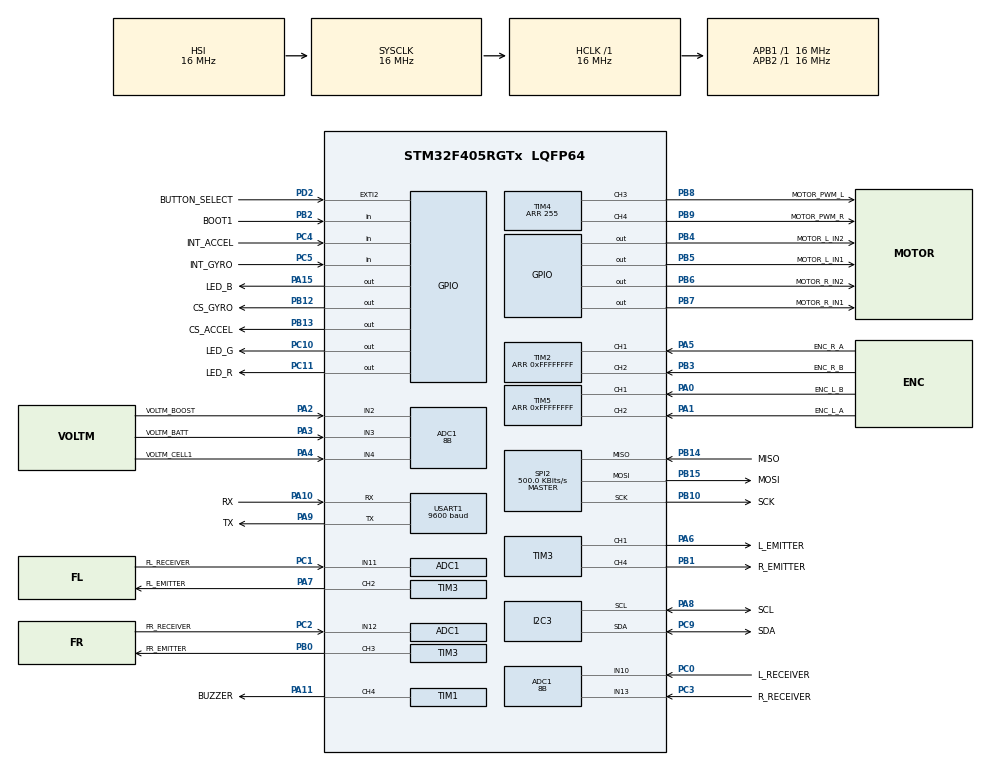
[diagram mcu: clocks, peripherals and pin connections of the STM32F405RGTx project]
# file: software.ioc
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ADC1.Channel-0\#ChannelRegularConversion=ADC_CHANNEL_3
ADC1.Channel-1\#ChannelRegularConversion=ADC_CHANNEL_4
ADC1.Channel-2\#ChannelRegularConversion=ADC_CHANNEL_2
ADC1.ClockPrescaler=ADC_CLOCK_SYNC_PCLK_DIV4
ADC1.ContinuousConvMode=ENABLE
ADC1.DMAContinuousRequests=ENABLE
ADC1.DataAlign=ADC_DATAALIGN_RIGHT
ADC1.EOCSelection=ADC_EOC_SEQ_CONV
ADC1.InjNumberOfConversion=0
ADC1.NbrOfConversion=3
ADC1.NbrOfConversionFlag=1
ADC1.Rank-0\#ChannelRegularConversion=1
ADC1.Rank-1\#ChannelRegularConversion=2
ADC1.Rank-2\#ChannelRegularConversion=3
ADC1.Resolution=ADC_RESOLUTION_8B
ADC1.SamplingTime-0\#ChannelRegularConversion=ADC_SAMPLETIME_480CYCLES
ADC1.SamplingTime-1\#ChannelRegularConversion=ADC_SAMPLETIME_480CYCLES
ADC1.SamplingTime-2\#ChannelRegularConversion=ADC_SAMPLETIME_480CYCLES
ADC1.ScanConvMode=ENABLE
ADC1.master=1
Dma.ADC1.0.Direction=DMA_PERIPH_TO_MEMORY
Dma.ADC1.0.FIFOMode=DMA_FIFOMODE_DISABLE
Dma.ADC1.0.Instance=DMA2_Stream0
Dma.ADC1.0.MemDataAlignment=DMA_MDATAALIGN_BYTE
Dma.ADC1.0.MemInc=DMA_MINC_ENABLE
Dma.ADC1.0.Mode=DMA_CIRCULAR
Dma.ADC1.0.PeriphDataAlignment=DMA_PDATAALIGN_BYTE
Dma.ADC1.0.PeriphInc=DMA_PINC_DISABLE
Dma.ADC1.0.Priority=DMA_PRIORITY_LOW
Dma.Request0=ADC1
I2C3.I2C_Mode=I2C_Fast
Mcu.Family=STM32F4
Mcu.Name=STM32F405RGTx
Mcu.Package=LQFP64
NVIC.DMA2_Stream0_IRQn=true\:0\:0\:false\:false\:true\:false\:true
NVIC.EXTI2_IRQn=true\:0\:0\:false\:false\:true\:true\:true
NVIC.PriorityGroup=NVIC_PRIORITYGROUP_4
NVIC.TIM8_TRG_COM_TIM14_IRQn=true\:0\:0\:false\:false\:true\:true\:true
PA0-WKUP.GPIO_Label=ENC_L_B
PA0-WKUP.Signal=S_TIM5_CH1
PA1.GPIO_Label=ENC_L_A
PA1.Signal=S_TIM5_CH2
PA10.GPIO_Label=RX
PA10.Mode=Asynchronous
PA10.Signal=USART1_RX
PA11.GPIO_Label=BUZZER
PA11.Signal=S_TIM1_CH4
PA13.GPIO_Label=SW_DIO
PA13.Mode=Serial_Wire
PA13.Signal=SYS_JTMS-SWDIO
PA14.GPIO_Label=SW_CLK
PA14.Mode=Serial_Wire
PA14.Signal=SYS_JTCK-SWCLK
PA15.GPIO_Label=LED_B
PA15.Signal=GPIO_Output
PA2.GPIO_Label=VOLTM_BOOST
PA2.Signal=ADCx_IN2
PA3.GPIO_Label=VOLTM_BATT
PA3.Signal=ADCx_IN3
PA4.GPIO_Label=VOLTM_CELL1
PA4.Signal=ADCx_IN4
PA5.GPIO_Label=ENC_R_A
PA5.Signal=S_TIM2_CH1_ETR
PA6.GPIO_Label=L_EMITTER
PA6.Signal=S_TIM3_CH1
PA7.GPIO_Label=FL_EMITTER
PA7.Signal=S_TIM3_CH2
PA8.GPIO_Label=SCL
PA8.Mode=I2C
PA8.Signal=I2C3_SCL
PA9.GPIO_Label=TX
PA9.Mode=Asynchronous
PA9.Signal=USART1_TX
PB0.GPIO_Label=FR_EMITTER
PB0.Signal=S_TIM3_CH3
PB1.GPIO_Label=R_EMITTER
PB1.Signal=S_TIM3_CH4
PB10.GPIO_Label=SCK
PB10.Mode=Full_Duplex_Master
PB10.Signal=SPI2_SCK
PB12.GPIO_Label=CS_GYRO
PB12.Signal=GPIO_Output
PB13.GPIO_Label=CS_ACCEL
PB13.Signal=GPIO_Output
PB14.GPIO_Label=MISO
PB14.Mode=Full_Duplex_Master
PB14.Signal=SPI2_MISO
PB15.GPIO_Label=MOSI
PB15.Mode=Full_Duplex_Master
PB15.Signal=SPI2_MOSI
PB2.GPIO_Label=BOOT1
PB2.Signal=GPIO_Input
PB3.GPIO_Label=ENC_R_B
PB3.Signal=S_TIM2_CH2
PB4.GPIO_Label=MOTOR_L_IN2
PB4.Signal=GPIO_Output
PB5.GPIO_Label=MOTOR_L_IN1
PB5.PinState=GPIO_PIN_RESET
PB5.Signal=GPIO_Output
PB6.GPIO_Label=MOTOR_R_IN2
PB6.Signal=GPIO_Output
PB7.GPIO_Label=MOTOR_R_IN1
PB7.Signal=GPIO_Output
PB8.GPIO_Label=MOTOR_PWM_L
PB8.Signal=S_TIM4_CH3
PB9.GPIO_Label=MOTOR_PWM_R
PB9.Signal=S_TIM4_CH4
PC0.GPIO_Label=L_RECEIVER
PC0.Signal=ADCx_IN10
PC1.GPIO_Label=FL_RECEIVER
PC1.Signal=ADCx_IN11
PC10.GPIO_Label=LED_G
PC10.Signal=GPIO_Output
PC11.GPIO_Label=LED_R
PC11.Signal=GPIO_Output
PC2.GPIO_Label=FR_RECEIVER
PC2.Signal=ADCx_IN12
PC3.GPIO_Label=R_RECEIVER
PC3.Signal=ADCx_IN13
PC4.GPIO_Label=INT_ACCEL
PC4.Signal=GPIO_Input
PC5.GPIO_Label=INT_GYRO
PC5.Signal=GPIO_Input
PC9.GPIO_Label=SDA
PC9.Mode=I2C
PC9.Signal=I2C3_SDA
PD2.GPIO_Label=BUTTON_SELECT
PD2.GPIO_ModeDefaultEXTI=GPIO_MODE_IT_FALLING
PD2.Signal=GPXTI2
ProjectManager.HeapSize=0x200
ProjectManager.StackSize=0x400
ProjectManager.TargetToolchain=MDK-ARM V5
RCC.48MHZClocksFreq_Value=48000000
RCC.AHBFreq_Value=16000000
RCC.APB1Freq_Value=16000000
RCC.APB1TimCLKDivider=1
RCC.APB1TimFreq_Value=16000000
RCC.APB2Freq_Value=16000000
RCC.APB2TimFreq_Value=16000000
RCC.CortexFreq_Value=16000000
RCC.HCLKFreq_Value=16000000
RCC.HSE_VALUE=25000000
RCC.HSI_VALUE=16000000
RCC.LSE_VALUE=32768
RCC.SYSCLKFreq_VALUE=16000000
RCC.VCOOutputFreq_Value=192000000
SH.ADCx_IN10.0=ADC1_IN10,IN10
SH.ADCx_IN11.0=ADC1_IN11,IN11
SH.ADCx_IN12.0=ADC1_IN12,IN12
SH.ADCx_IN13.0=ADC1_IN13,IN13
SH.ADCx_IN2.0=ADC1_IN2,IN2
SH.ADCx_IN3.0=ADC1_IN3,IN3
SH.ADCx_IN4.0=ADC1_IN4,IN4
SH.S_TIM1_CH4.0=TIM1_CH4,PWM Generation4 CH4
SH.S_TIM2_CH1_ETR.0=TIM2_CH1,Encoder_Interface
SH.S_TIM2_CH2.0=TIM2_CH2,Encoder_Interface
SH.S_TIM3_CH1.0=TIM3_CH1,PWM Generation1 CH1
SH.S_TIM3_CH2.0=TIM3_CH2,PWM Generation2 CH2
SH.S_TIM3_CH3.0=TIM3_CH3,PWM Generation3 CH3
SH.S_TIM3_CH4.0=TIM3_CH4,PWM Generation4 CH4
SH.S_TIM4_CH3.0=TIM4_CH3,PWM Generation3 CH3
SH.S_TIM4_CH4.0=TIM4_CH4,PWM Generation4 CH4
SH.S_TIM5_CH1.0=TIM5_CH1,Encoder_Interface
SH.S_TIM5_CH2.0=TIM5_CH2,Encoder_Interface
SPI2.BaudRatePrescaler=SPI_BAUDRATEPRESCALER_32
SPI2.CalculateBaudRate=500.0 KBits/s
SPI2.Direction=SPI_DIRECTION_2LINES
SPI2.Mode=SPI_MODE_MASTER
SPI2.VirtualType=VM_MASTER
TIM1.Channel-PWM\ Generation4\ CH4=TIM_CHANNEL_4
TIM14.Period=50
TIM14.Prescaler=16000
TIM2.CounterMode=TIM_COUNTERMODE_UP
TIM2.EncoderMode=TIM_ENCODERMODE_TI12
TIM2.Period=0xFFFFFFFF
TIM3.Channel-PWM\ Generation1\ CH1=TIM_CHANNEL_1
TIM3.Channel-PWM\ Generation2\ CH2=TIM_CHANNEL_2
TIM3.Channel-PWM\ Generation3\ CH3=TIM_CHANNEL_3
TIM3.Channel-PWM\ Generation4\ CH4=TIM_CHANNEL_4
TIM4.Channel-PWM\ Generation3\ CH3=TIM_CHANNEL_3
TIM4.Channel-PWM\ Generation4\ CH4=TIM_CHANNEL_4
TIM4.Period=255
TIM5.EncoderMode=TIM_ENCODERMODE_TI12
TIM5.Period=0xFFFFFFFF
USART1.BaudRate=9600
USART1.VirtualMode=VM_ASYNC
VP_TIM14_VS_ClockSourceINT.Mode=Enable_Timer
board=custom

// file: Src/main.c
/* USER CODE BEGIN Header */
/**
  ******************************************************************************
  * @file           : main.c
  * @brief          : Main program body
  ******************************************************************************
  * @attention
  *
  * <h2><center>&copy; Copyright (c) 2019 STMicroelectronics.
  * All rights reserved.</center></h2>
  *
  * This software component is licensed by ST under BSD 3-Clause license,
  * the "License"; You may not use this file except in compliance with the
  * License. You may obtain a copy of the License at:
  *                        opensource.org/licenses/BSD-3-Clause
  *
  ******************************************************************************
  */
/* USER CODE END Header */

#include "main.h"
#include "adc.h"
#include "dma.h"
#include "i2c.h"
#include "spi.h"
#include "tim.h"
#include "usart.h"
#include "gpio.h"

/* USER CODE BEGIN Includes */
#include <stdio.h>
#include <math.h>
#include <string.h>

//#include "madgwick.h"
//#include "bmi08x.h"
//#include "bmi088.h"

#include "battery.h"
#include "motor.h"
#include "oled.h"
#include "control.h"
#include "ssd1306.h"
#include "bitmaps.h"

/* USER CODE END Includes */

void SystemClock_Config(void);
/* USER CODE BEGIN PFP */

#ifdef __GNUC__
	#define PUTCHAR_PROTOTYPE int __io_putchar(int ch)
#else
	#define PUTCHAR_PROTOTYPE int fputc(int ch, FILE *f)
#endif
PUTCHAR_PROTOTYPE{
	HAL_UART_Transmit(&huart1, (uint8_t *) &ch, 1, 0xFFFF);
	return ch;
}

/* USER CODE END PFP */

/* USER CODE BEGIN 0 */

int accNeeded;
int moveSpeed;
int turnSpeed;

void move(int nrCells);

/* USER CODE END 0 */

int main(void)
{

  /* MCU Configuration--------------------------------------------------------*/

  /* Reset of all peripherals, Initializes the Flash interface and the Systick. */
  HAL_Init();

  /* Configure the system clock */
  SystemClock_Config();

  /* Initialize all configured peripherals */
  MX_GPIO_Init();
  MX_DMA_Init();
  MX_ADC1_Init();
  MX_I2C3_Init();
  MX_SPI2_Init();
  MX_TIM1_Init();
  MX_TIM2_Init();
  MX_TIM3_Init();
  MX_TIM4_Init();
  MX_TIM5_Init();
  MX_USART1_UART_Init();
  MX_TIM14_Init();
  /* USER CODE BEGIN 2 */

	// USART UART is causing core to lock up.......

	oled_init();
	motors_init();
	voltmeter_init();

	moveSpeed = speedToCounts(300*2);
	turnSpeed = 30;

	printf("---------- Starting JERRY -----------\r\n");

  /* USER CODE END 2 */

  /* Infinite loop */
  while (1)
  {

    /* USER CODE BEGIN 3 */
		oled_update();
		HAL_Delay(50);
		printf("Running\r\n");
		//curSpeedX = 100;

  }
  /* USER CODE END 3 */
}

void SystemClock_Config(void)
{
  RCC_OscInitTypeDef RCC_OscInitStruct = {0};
  RCC_ClkInitTypeDef RCC_ClkInitStruct = {0};

  /** Configure the main internal regulator output voltage
  */
  __HAL_RCC_PWR_CLK_ENABLE();
  __HAL_PWR_VOLTAGESCALING_CONFIG(PWR_REGULATOR_VOLTAGE_SCALE1);
  /** Initializes the CPU, AHB and APB busses clocks
  */
  RCC_OscInitStruct.OscillatorType = RCC_OSCILLATORTYPE_HSI;
  RCC_OscInitStruct.HSIState = RCC_HSI_ON;
  RCC_OscInitStruct.HSICalibrationValue = RCC_HSICALIBRATION_DEFAULT;
  RCC_OscInitStruct.PLL.PLLState = RCC_PLL_NONE;
  if (HAL_RCC_OscConfig(&RCC_OscInitStruct) != HAL_OK)
  {
    Error_Handler();
  }
  /** Initializes the CPU, AHB and APB busses clocks
  */
  RCC_ClkInitStruct.ClockType = RCC_CLOCKTYPE_HCLK|RCC_CLOCKTYPE_SYSCLK
                              |RCC_CLOCKTYPE_PCLK1|RCC_CLOCKTYPE_PCLK2;
  RCC_ClkInitStruct.SYSCLKSource = RCC_SYSCLKSOURCE_HSI;
  RCC_ClkInitStruct.AHBCLKDivider = RCC_SYSCLK_DIV1;
  RCC_ClkInitStruct.APB1CLKDivider = RCC_HCLK_DIV1;
  RCC_ClkInitStruct.APB2CLKDivider = RCC_HCLK_DIV1;

  if (HAL_RCC_ClockConfig(&RCC_ClkInitStruct, FLASH_LATENCY_0) != HAL_OK)
  {
    Error_Handler();
  }
}

/* USER CODE BEGIN 4 */
void move(int nrOfCells){

	int totalDistance = nrOfCells * oneCellDistance;
	distanceLeft = totalDistance;
	targetSpeedW = 0; // No curve turns

	do{
		accNeeded = needToDecelerate(distanceLeft, curSpeedX, 0);
		if(accNeeded < decX)
			targetSpeedX = moveSpeed;
		else
			targetSpeedX = 0;
	}while( (encoderCount-oldEncoderCount) < (totalDistance));

	targetSpeedX = 0;
	oldEncoderCount = encoderCount;
}

/* USER CODE END 4 */

void Error_Handler(void)
{
}

/************************ (C) COPYRIGHT STMicroelectronics *****END OF FILE****/
